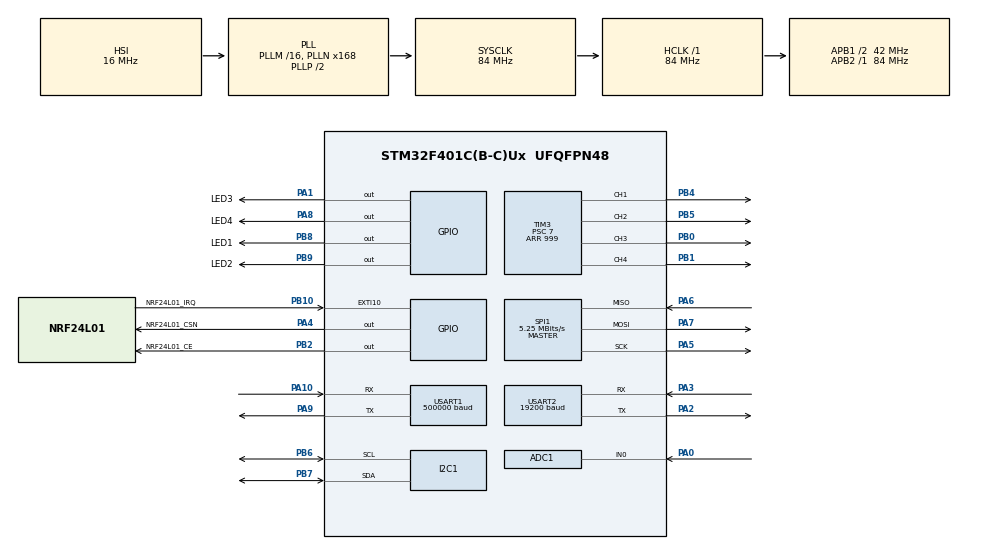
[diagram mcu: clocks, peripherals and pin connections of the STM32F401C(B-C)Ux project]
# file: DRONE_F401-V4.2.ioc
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ADC1.Channel-0\#ChannelRegularConversion=ADC_CHANNEL_0
ADC1.ContinuousConvMode=DISABLE
ADC1.NbrOfConversionFlag=1
ADC1.Rank-0\#ChannelRegularConversion=1
ADC1.SamplingTime-0\#ChannelRegularConversion=ADC_SAMPLETIME_15CYCLES
ADC1.ScanConvMode=DISABLE
ADC1.master=1
Dma.Request0=USART2_RX
Dma.USART2_RX.0.Direction=DMA_PERIPH_TO_MEMORY
Dma.USART2_RX.0.FIFOMode=DMA_FIFOMODE_DISABLE
Dma.USART2_RX.0.Instance=DMA1_Stream5
Dma.USART2_RX.0.MemDataAlignment=DMA_MDATAALIGN_BYTE
Dma.USART2_RX.0.MemInc=DMA_MINC_ENABLE
Dma.USART2_RX.0.Mode=DMA_NORMAL
Dma.USART2_RX.0.PeriphDataAlignment=DMA_PDATAALIGN_BYTE
Dma.USART2_RX.0.PeriphInc=DMA_PINC_DISABLE
Dma.USART2_RX.0.Priority=DMA_PRIORITY_LOW
I2C1.I2C_Mode=I2C_Fast
Mcu.Family=STM32F4
Mcu.Name=STM32F401C(B-C)Ux
Mcu.Package=UFQFPN48
NVIC.ADC_IRQn=true\:0\:0\:false\:false\:true\:true\:true\:true
NVIC.DMA1_Stream5_IRQn=true\:0\:0\:false\:false\:true\:false\:true\:true
NVIC.EXTI15_10_IRQn=true\:0\:0\:false\:false\:true\:true\:true\:true
NVIC.PriorityGroup=NVIC_PRIORITYGROUP_4
NVIC.TIM1_UP_TIM10_IRQn=true\:0\:0\:false\:false\:true\:true\:true\:true
NVIC.USART1_IRQn=true\:0\:0\:false\:false\:true\:true\:true\:true
NVIC.USART2_IRQn=true\:0\:0\:false\:false\:true\:true\:true\:true
PA0-WKUP.Signal=ADCx_IN0
PA1.GPIO_Label=LED3
PA1.Signal=GPIO_Output
PA10.Mode=Asynchronous
PA10.Signal=USART1_RX
PA13.Mode=Serial_Wire
PA13.Signal=SYS_JTMS-SWDIO
PA14.Mode=Serial_Wire
PA14.Signal=SYS_JTCK-SWCLK
PA2.Mode=Asynchronous
PA2.Signal=USART2_TX
PA3.Mode=Asynchronous
PA3.Signal=USART2_RX
PA4.GPIO_Label=NRF24L01_CSN
PA4.GPIO_Speed=GPIO_SPEED_FREQ_HIGH
PA4.PinState=GPIO_PIN_SET
PA4.Signal=GPIO_Output
PA5.Mode=Full_Duplex_Master
PA5.Signal=SPI1_SCK
PA6.Mode=Full_Duplex_Master
PA6.Signal=SPI1_MISO
PA7.Mode=Full_Duplex_Master
PA7.Signal=SPI1_MOSI
PA8.GPIO_Label=LED4
PA8.Signal=GPIO_Output
PA9.Mode=Asynchronous
PA9.Signal=USART1_TX
PB0.Signal=S_TIM3_CH3
PB1.Signal=S_TIM3_CH4
PB10.GPIO_Label=NRF24L01_IRQ
PB10.GPIO_ModeDefaultEXTI=GPIO_MODE_IT_FALLING
PB10.GPIO_PuPd=GPIO_PULLUP
PB10.Signal=GPXTI10
PB2.GPIO_Label=NRF24L01_CE
PB2.PinState=GPIO_PIN_SET
PB2.Signal=GPIO_Output
PB4.Signal=S_TIM3_CH1
PB5.Signal=S_TIM3_CH2
PB6.GPIO_Pu=GPIO_PULLUP
PB6.Mode=I2C
PB6.Signal=I2C1_SCL
PB7.GPIO_Pu=GPIO_PULLUP
PB7.Mode=I2C
PB7.Signal=I2C1_SDA
PB8.GPIO_Label=LED1
PB8.Signal=GPIO_Output
PB9.GPIO_Label=LED2
PB9.Signal=GPIO_Output
PH0\ -\ OSC_IN.Mode=HSE-External-Oscillator
PH0\ -\ OSC_IN.Signal=RCC_OSC_IN
PH1\ -\ OSC_OUT.Mode=HSE-External-Oscillator
PH1\ -\ OSC_OUT.Signal=RCC_OSC_OUT
ProjectManager.HeapSize=0x200
ProjectManager.StackSize=0x400
ProjectManager.TargetToolchain=MDK-ARM V5.32
RCC.48MHZClocksFreq_Value=42000000
RCC.AHBFreq_Value=84000000
RCC.APB1CLKDivider=RCC_HCLK_DIV2
RCC.APB1Freq_Value=42000000
RCC.APB1TimFreq_Value=84000000
RCC.APB2Freq_Value=84000000
RCC.APB2TimFreq_Value=84000000
RCC.CortexFreq_Value=84000000
RCC.HCLKFreq_Value=84000000
RCC.HSE_VALUE=25000000
RCC.HSI_VALUE=16000000
RCC.LSE_VALUE=32768
RCC.PLLN=168
RCC.SYSCLKFreq_VALUE=84000000
RCC.SYSCLKSource=RCC_SYSCLKSOURCE_PLLCLK
RCC.VCOOutputFreq_Value=168000000
SH.ADCx_IN0.0=ADC1_IN0,IN0
SH.S_TIM3_CH1.0=TIM3_CH1,PWM Generation1 CH1
SH.S_TIM3_CH2.0=TIM3_CH2,PWM Generation2 CH2
SH.S_TIM3_CH3.0=TIM3_CH3,PWM Generation3 CH3
SH.S_TIM3_CH4.0=TIM3_CH4,PWM Generation4 CH4
SPI1.BaudRatePrescaler=SPI_BAUDRATEPRESCALER_16
SPI1.CalculateBaudRate=5.25 MBits/s
SPI1.Direction=SPI_DIRECTION_2LINES
SPI1.Mode=SPI_MODE_MASTER
SPI1.VirtualType=VM_MASTER
TIM1.AutoReloadPreload=TIM_AUTORELOAD_PRELOAD_ENABLE
TIM1.Period=60
TIM1.Prescaler=8399
TIM3.AutoReloadPreload=TIM_AUTORELOAD_PRELOAD_ENABLE
TIM3.Channel-PWM\ Generation1\ CH1=TIM_CHANNEL_1
TIM3.Channel-PWM\ Generation2\ CH2=TIM_CHANNEL_2
TIM3.Channel-PWM\ Generation3\ CH3=TIM_CHANNEL_3
TIM3.Channel-PWM\ Generation4\ CH4=TIM_CHANNEL_4
TIM3.Period=999
TIM3.Prescaler=7
TIM3.Pulse-PWM\ Generation1\ CH1=0
USART1.BaudRate=500000
USART1.VirtualMode=VM_ASYNC
USART2.BaudRate=19200
USART2.VirtualMode=VM_ASYNC
VP_TIM1_VS_ClockSourceINT.Mode=Internal
VP_TIM3_VS_ClockSourceINT.Mode=Internal
board=custom

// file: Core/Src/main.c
/* USER CODE BEGIN Header */
/**
  ******************************************************************************
  * @file           : main.c
  * @brief          : Main program body
  ******************************************************************************
  * @attention
  *
  * <h2><center>&copy; Copyright (c) 2021 STMicroelectronics.
  * All rights reserved.</center></h2>
  *
  * This software component is licensed by ST under BSD 3-Clause license,
  * the "License"; You may not use this file except in compliance with the
  * License. You may obtain a copy of the License at:
  *                        opensource.org/licenses/BSD-3-Clause
  *
  ******************************************************************************
  */
/* USER CODE END Header */
#include "main.h"
#include "mpu6050.h"
#include "flash.h"
/* USER CODE BEGIN Includes */
#include "all_define.h"
#include "stm32f4xx_hal.h"

#include "stm32f4xx_hal_tim.h"
/* USER CODE END Includes */

ADC_HandleTypeDef hadc1;

I2C_HandleTypeDef hi2c1;

SPI_HandleTypeDef hspi1;

TIM_HandleTypeDef htim1;
//TIM_HandleTypeDef htim2;
TIM_HandleTypeDef htim3;

UART_HandleTypeDef huart1;
UART_HandleTypeDef huart2;
DMA_HandleTypeDef hdma_usart2_rx;

/* USER CODE BEGIN PV */
uint8_t nrf2401_tx_flag=1;
uint8_t nrf2401_txbuf[33]={0xAA,0xAA,0x01,0x06,0x00,0x1D,0xFF,0xCA,0x09,0x1E,0x68};
uint8_t txbuf_pos=0;
extern uint16_t nrf_cnt;

uint8_t uart1_rxbuf[100];
uint8_t uart1_buf_pos=0;
uint8_t uart1_flag=0;
uint32_t uart1_tick_start=0;

__IO uint8_t uart2_rxbuf[100];
uint8_t uart2_buf_pos=0;
uint8_t uart2_flag=0;
uint32_t uart2_tick_start=0;
float temperature;
float presure;
uint32_t baro_height; // barometer height in mm
uint16_t voltage;    // battery voltage * 100
/* UART command buffer */
char uart_rx_buf[128];
uint8_t uart_rx_len = 0;
// FC soft-sleep timing state
uint32_t idle_tick = 0;          // last non-idle tick for FC soft sleep
uint8_t fc_sleep_counting = 0U;  // only count down after remote reports locked-idle
uint8_t fc_soft_sleeping = 0U;
#define SLEEP_TIME 60000         // legacy 60s timeout value

// IMU calibration Flash flag
#define CALIB_ADDR  0x0801F000
#define CALIB_OK    0xAA

/* USER CODE END PV */

void SystemClock_Config(void);
static void MX_GPIO_Init(void);
static void MX_DMA_Init(void);
static void MX_I2C1_Init(void);
static void MX_SPI1_Init(void);
static void MX_TIM3_Init(void);
static void MX_TIM1_Init(void);
static void MX_USART2_UART_Init(void);
static void MX_ADC1_Init(void);
static void MX_USART1_UART_Init(void);
/* USER CODE BEGIN PFP */
extern void pid_param_Init(void);
/* USER CODE END PFP */

/* USER CODE BEGIN 0 */
// Enter FC soft sleep without shutting down MCU or NRF.
void Enter_Standby(void)
{
  /* FC soft sleep stops motors and LED indication only.
     MCU and NRF stay alive so the remote link and telemetry continue. */
  __HAL_TIM_SET_COMPARE(&htim3, TIM_CHANNEL_1, 0);
  __HAL_TIM_SET_COMPARE(&htim3, TIM_CHANNEL_2, 0);
  __HAL_TIM_SET_COMPARE(&htim3, TIM_CHANNEL_3, 0);
  __HAL_TIM_SET_COMPARE(&htim3, TIM_CHANNEL_4, 0);
  ALL_flag.unlock = 0;
  LED.status = AlwaysOff;
  HAL_GPIO_WritePin(LED1_GPIO_Port, LED1_Pin, GPIO_PIN_SET);
  HAL_GPIO_WritePin(LED2_GPIO_Port, LED2_Pin, GPIO_PIN_SET);
  HAL_GPIO_WritePin(LED3_GPIO_Port, LED3_Pin, GPIO_PIN_SET);
  HAL_GPIO_WritePin(LED4_GPIO_Port, LED4_Pin, GPIO_PIN_SET);
  fc_soft_sleeping = 1U;
}
// Reset FC soft-sleep timer and wake from soft sleep.
void Reset_Idle(void)
{
  idle_tick = HAL_GetTick();
  fc_soft_sleeping = 0U;
}

static void FC_SendTelemetryWindow(void)
{
  static uint32_t last_telemetry_tx_tick = 0U;
  static uint32_t last_control_rx_tick = 0U;
  uint32_t now = HAL_GetTick();
  uint8_t len = txbuf_pos;
  uint32_t min_interval;

  /* Update last control frame receive time */
  extern uint32_t last_nrf_rx_time;
  if(last_nrf_rx_time != last_control_rx_tick)
  {
    last_control_rx_tick = last_nrf_rx_time;
  }

  if(len == 0U)
  {
    return;
  }
  if(len > 32U)
  {
    len = 32U;
  }

  /* Adaptive telemetry rate:
     - Locked: 1Hz (1000ms) - keep remote signal indicator alive
     - Unlocked: 20Hz (50ms) - full telemetry for ground station
     Only send when recently received control frames to avoid wasting airtime. */
  if(ALL_flag.unlock == 0U)
  {
    min_interval = 1000U;  /* Locked: 1Hz keepalive */
  }
  else
  {
    min_interval = 50U;    /* Unlocked: 20Hz full telemetry */
  }

  if((now - last_control_rx_tick) > 100U)
  {
    return;  /* No recent control frame: remote may not be listening */
  }

  if((now - last_telemetry_tx_tick) < min_interval)
  {
    return;  /* Rate limit */
  }

  /* Send telemetry in brief TX window between control frames */
  RX2TX();
  (void)NRF24L01_TxPacket(nrf2401_txbuf, len);
  TX2RX();
  txbuf_pos = 0U;
  last_telemetry_tx_tick = now;
}

extern uint8_t RC_rxData[32];
//uint8_t cnt_angle=0;
uint8_t SPL06_cnt=0,SPL06_flag=0;
uint8_t volt_cnt=0;
uint32_t last_nrf_rx_time = 0U;  /* Timestamp of last control frame received */
void HAL_TIM_PeriodElapsedCallback(TIM_HandleTypeDef *htim)
{
  if(htim==&htim1)
  {
   #if 1
    __HAL_TIM_CLEAR_IT(&htim1, TIM_IT_UPDATE|TIM_IT_CC1|TIM_IT_CC2|TIM_IT_CC3|TIM_IT_CC4);

    MpuGetData();
    GetAngle(&MPU6050,&Angle,0.006f);
    OPTICAL2Read();

    FlightPidControl(0.006f);
    MotorControl();
   #endif
    nrf_cnt++;
    // Legacy note removed because its original encoding was corrupted.
    // Legacy note removed because its original encoding was corrupted.
    // Legacy note removed because its original encoding was corrupted.
    // Allow short RF jitter; do not mark the link lost on one or two missed frames.
    if(nrf_cnt>=200)
    {
      ALL_flag.unlock = 0;
      nrf_cnt=0;
      //LED3_Toggle();
      //remote_unlock();
      LED.status = AllFlashLight;
      LED.FlashTime = 300;
    }
    SPL06_cnt++;
    if(SPL06_cnt>10)
    {
      SPL06_cnt=0;
      temperature = user_SPL06_001_get_temperature();
      presure = user_SPL06_001_get_presure();
      baro_height = ((uint32_t)((102000.0f- presure) * 78.740f)+5)/10;
      SPL06_flag=1;
    }
    volt_cnt++;
    if(volt_cnt>=200)
    { HAL_ADC_Start_IT(&hadc1);
      volt_cnt =0;
    }
  }
}

void HAL_GPIO_EXTI_Callback(uint16_t GPIO_Pin)
{
	uint8_t sta;
  if(GPIO_Pin==NRF24L01_IRQ_Pin)
  {
    // RC_Analy() clears nrf_cnt only after a real payload is read.
    sta=NRF24L01_Read_Reg(STATUS);
    if(sta&RX_OK)
    {
      // Legacy note removed because its original encoding was corrupted.
      last_nrf_rx_time = HAL_GetTick();  /* Record control frame receive time */
      RC_Analy();
      nrf2401_tx_flag=1;
    }
  }
}

void HAL_ADC_ConvCpltCallback(ADC_HandleTypeDef* hadc)
{ uint16_t adv;
  adv=HAL_ADC_GetValue(&hadc1);
  voltage=adv*430/4096;
  if (voltage<360)
  {
    ALL_flag.unlock = 0;
    LED.status =WARNING;
    LED.FlashTime = 500;
  }
}

/* USER CODE END 0 */

int main(void)
{

  /* MCU Configuration--------------------------------------------------------*/

  /* Reset of all peripherals, Initializes the Flash interface and the Systick. */
  HAL_Init();

  /* Configure the system clock */
  SystemClock_Config();

  /* Initialize all configured peripherals */
  MX_GPIO_Init();
  MX_DMA_Init();
  MX_I2C1_Init();
  MX_SPI1_Init();
  MX_TIM3_Init();
  MX_TIM1_Init();
  MX_USART2_UART_Init();
  MX_ADC1_Init();
  MX_USART1_UART_Init();
//	MX_TIM2_Init();
  /* USER CODE BEGIN 2 */
  HAL_NVIC_DisableIRQ(NRF24L01_IRQ_EXTI_IRQn); // Keep NRF IRQ disabled until NRF24L01 init is finished.
  HAL_GPIO_WritePin(NRF24L01_CE_GPIO_Port, NRF24L01_CE_Pin, GPIO_PIN_RESET); // Disable NRF CE during setup.
	// ===================== IMU calibration =====================
uint8_t calib = FLASH_ReadByte(CALIB_ADDR);
if(calib != CALIB_OK)
{
    // No saved calibration: blink LEDs before first calibration.
    HAL_GPIO_TogglePin(GPIOB, LED1_Pin);
    HAL_GPIO_TogglePin(GPIOB, LED2_Pin);
    HAL_Delay(300);

    // Run sensor calibration before writing the calibration flag.
    MPU6050_Calibrate();

    // Mark calibration as valid in Flash.
    FLASH_WriteByte(CALIB_ADDR, CALIB_OK);
}
// Turn LEDs off after calibration.
HAL_GPIO_WritePin(GPIOB, LED1_Pin|LED2_Pin|LED3_Pin|LED4_Pin, GPIO_PIN_SET);
HAL_Delay(1000);
  LED1_H();

  HAL_Delay(100);
  SPL06_001_init(); // Initialize SPL06 barometer.
  MpuInit(); // Initialize MPU6050.

// ==============================================
// Boot calibration is skipped when the Flash flag is already valid.
// Factory test helper: erase Flash to force recalibration.
// End of calibration block.
HAL_GPIO_WritePin(GPIOB, LED1_Pin, GPIO_PIN_SET);
HAL_GPIO_WritePin(GPIOB, LED2_Pin, GPIO_PIN_SET);
HAL_GPIO_WritePin(GPIOA, LED3_Pin, GPIO_PIN_SET);
HAL_GPIO_WritePin(GPIOA, LED4_Pin, GPIO_PIN_SET);
HAL_Delay(300);

// ====================== LED test block ======================
HAL_GPIO_WritePin(GPIOB, LED1_Pin, GPIO_PIN_RESET);
HAL_GPIO_WritePin(GPIOB, LED2_Pin, GPIO_PIN_RESET);
HAL_Delay(3000);   // wait 3 seconds for visual check

HAL_GPIO_WritePin(GPIOB, LED1_Pin, GPIO_PIN_SET);
HAL_GPIO_WritePin(GPIOB, LED2_Pin, GPIO_PIN_SET);
HAL_Delay(1000);

// ====================== LED test block ======================
//while(1)
//{
    // LED1 on, LED2 off
//    HAL_GPIO_WritePin(GPIOB, LED1_Pin, GPIO_PIN_RESET);
//    HAL_GPIO_WritePin(GPIOB, LED2_Pin, GPIO_PIN_SET);
//    HAL_Delay(1000);

    // LED1 off, LED2 on
//    HAL_GPIO_WritePin(GPIOB, LED1_Pin, GPIO_PIN_SET);
//    HAL_GPIO_WritePin(GPIOB, LED2_Pin, GPIO_PIN_RESET);
//    HAL_Delay(1000);
//}
#if 1

  HAL_TIM_PWM_Start(&htim3,TIM_CHANNEL_1);
  HAL_TIM_PWM_Start(&htim3,TIM_CHANNEL_2);
  HAL_TIM_PWM_Start(&htim3,TIM_CHANNEL_3);
  HAL_TIM_PWM_Start(&htim3,TIM_CHANNEL_4);
  __HAL_TIM_CLEAR_IT(&htim1, (TIM_IT_UPDATE|TIM_IT_CC1|TIM_IT_CC2|TIM_IT_CC3|TIM_IT_CC4));
  //HAL_Delay(100);
  HAL_TIM_Base_Start_IT(&htim1);
  HAL_UART_Receive_DMA(&huart2,(uint8_t *)uart2_rxbuf,9);
  __HAL_UART_ENABLE_IT(&huart2,UART_IT_IDLE);  // Enable USART2 idle interrupt for fixed-length GL9306 packets.
  __HAL_UART_ENABLE_IT(&huart1, UART_IT_RXNE); // Enable USART1 RX interrupt for command input.

  while(NRF24L01_Check())
  {
    LED1_Toggle();
    HAL_Delay(250);
  }
  pid_param_Init();
  LED1_Toggle();
  if((FLASH_ReadByte(PAIR_BUILD_ADDR) != (uint8_t)(PAIR_BUILD_ID & 0xFFU)) ||
     (FLASH_ReadByte(PAIR_BUILD_ADDR + 1U) != (uint8_t)((PAIR_BUILD_ID >> 8) & 0xFFU)))
  {
    FLASH_EraseSectorByAddr(PAIR_ADDR);
    FLASH_WriteByte(PAIR_ADDR, 0);
    FLASH_WriteByte(PAIR_ADDR + 1U, 0x11);
    FLASH_WriteByte(PAIR_ADDR + 2U, 0x22);
    FLASH_WriteByte(PAIR_ADDR + 3U, 0x33);
    FLASH_WriteByte(PAIR_ADDR + 4U, 0x44);
    FLASH_WriteByte(PAIR_ADDR + 5U, 0x55);
    FLASH_WriteByte(PAIR_FLAG, PAIR_MAGIC);
    FLASH_WriteByte(PAIR_BUILD_ADDR, (uint8_t)(PAIR_BUILD_ID & 0xFFU));
    FLASH_WriteByte(PAIR_BUILD_ADDR + 1U, (uint8_t)((PAIR_BUILD_ID >> 8) & 0xFFU));
    FLASH_WriteByte(FC_SLEEP_ADDR, (uint8_t)(g_fc_idle_sleep_seconds & 0xFFU));
    FLASH_WriteByte(FC_SLEEP_ADDR + 1U, (uint8_t)((g_fc_idle_sleep_seconds >> 8) & 0xFFU));
    FLASH_WriteByte(FC_SLEEP_MAGIC_ADDR, FC_SLEEP_MAGIC);
  }
  if(FLASH_ReadByte(PAIR_FLAG) == PAIR_MAGIC)
  {
    uint8_t saved_rf_addr[5];
    uint8_t saved_rf_channel = FLASH_ReadByte(PAIR_ADDR);
    saved_rf_addr[0] = FLASH_ReadByte(PAIR_ADDR + 1U);
    saved_rf_addr[1] = FLASH_ReadByte(PAIR_ADDR + 2U);
    saved_rf_addr[2] = FLASH_ReadByte(PAIR_ADDR + 3U);
    saved_rf_addr[3] = FLASH_ReadByte(PAIR_ADDR + 4U);
    saved_rf_addr[4] = FLASH_ReadByte(PAIR_ADDR + 5U);
    if(saved_rf_channel <= 125U)
    {
      NRF24L01_SetChannelAddress(saved_rf_channel, saved_rf_addr);
    }
  }
  RX_Mode();
  HAL_ADC_Start_IT(&hadc1); // Start battery-voltage ADC conversion.

  HAL_NVIC_EnableIRQ(NRF24L01_IRQ_EXTI_IRQn); // Enable NRF IRQ after NRF24L01 init is complete.
  FC_LoadSleepConfig();

  Reset_Idle();  // start FC soft-sleep timer after RF init
#endif
  /* USER CODE END 2 */

  /* Infinite loop */
  /* USER CODE BEGIN WHILE */

  while (1)
  {
    // Enter FC soft sleep after the configured locked-idle timeout.
    if((g_fc_idle_sleep_seconds != 0U) &&
       (fc_sleep_counting != 0U) &&
       (fc_soft_sleeping == 0U) &&
       ((HAL_GetTick() - idle_tick) >= ((uint32_t)g_fc_idle_sleep_seconds * 1000U)))
    {
        ALL_flag.unlock = 0;
        // MotorStop(); // PWM outputs are cleared inside Enter_Standby().
        Enter_Standby();
    }

    ANO_ServicePairSave();
    ANTO_polling();
    PilotLED();
    ANTO_polling();
    FC_SendTelemetryWindow();
    PilotLED();
    //OPTICAL2Read();
    if(uart1_flag)
    { uart1_flag=0;
      //send_char_array(&huart1,uart1_rxbuf,uart1_buf_pos);
      uart1_buf_pos=0;
    }
    if(uart2_flag)
    { uart2_flag=0;
      flow_decode();
      //send_char_array(&huart1,(uint8_t *)uart2_rxbuf,9);//uart2_buf_pos);
      uart2_buf_pos=0;
    }

    if(SPL06_flag)
    { SPL06_flag=0;
      // Legacy note removed because its original encoding was corrupted.
    }

    /* USER CODE END WHILE */

  }
}

void SystemClock_Config(void)
{
  RCC_OscInitTypeDef RCC_OscInitStruct = {0};
  RCC_ClkInitTypeDef RCC_ClkInitStruct = {0};

  /** Configure the main internal regulator output voltage
  */
  __HAL_RCC_PWR_CLK_ENABLE();
  __HAL_PWR_VOLTAGESCALING_CONFIG(PWR_REGULATOR_VOLTAGE_SCALE2);

  /** Initializes the RCC Oscillators according to the specified parameters
  * in the RCC_OscInitTypeDef structure.
  */
  RCC_OscInitStruct.OscillatorType = RCC_OSCILLATORTYPE_HSI;
  RCC_OscInitStruct.HSIState = RCC_HSI_ON;
  RCC_OscInitStruct.HSICalibrationValue = RCC_HSICALIBRATION_DEFAULT;
  RCC_OscInitStruct.PLL.PLLState = RCC_PLL_ON;
  RCC_OscInitStruct.PLL.PLLSource = RCC_PLLSOURCE_HSI;
  RCC_OscInitStruct.PLL.PLLM = 16;
  RCC_OscInitStruct.PLL.PLLN = 168;
  RCC_OscInitStruct.PLL.PLLP = RCC_PLLP_DIV2;
  RCC_OscInitStruct.PLL.PLLQ = 4;
  if (HAL_RCC_OscConfig(&RCC_OscInitStruct) != HAL_OK)
  {
    Error_Handler();
  }

  /** Initializes the CPU, AHB and APB buses clocks
  */
  RCC_ClkInitStruct.ClockType = RCC_CLOCKTYPE_HCLK|RCC_CLOCKTYPE_SYSCLK
                              |RCC_CLOCKTYPE_PCLK1|RCC_CLOCKTYPE_PCLK2;
  RCC_ClkInitStruct.SYSCLKSource = RCC_SYSCLKSOURCE_PLLCLK;
  RCC_ClkInitStruct.AHBCLKDivider = RCC_SYSCLK_DIV1;
  RCC_ClkInitStruct.APB1CLKDivider = RCC_HCLK_DIV2;
  RCC_ClkInitStruct.APB2CLKDivider = RCC_HCLK_DIV1;

  if (HAL_RCC_ClockConfig(&RCC_ClkInitStruct, FLASH_LATENCY_2) != HAL_OK)
  {
    Error_Handler();
  }
}

static void MX_ADC1_Init(void)
{

  ADC_ChannelConfTypeDef sConfig = {0};

  /** Configure the global features of the ADC (Clock, Resolution, Data Alignment and number of conversion)
  */
  hadc1.Instance = ADC1;
  hadc1.Init.ClockPrescaler = ADC_CLOCK_SYNC_PCLK_DIV4;
  hadc1.Init.Resolution = ADC_RESOLUTION_12B;
  hadc1.Init.ScanConvMode = DISABLE;
  hadc1.Init.ContinuousConvMode = DISABLE;
  hadc1.Init.DiscontinuousConvMode = DISABLE;
  hadc1.Init.ExternalTrigConvEdge = ADC_EXTERNALTRIGCONVEDGE_NONE;
  hadc1.Init.ExternalTrigConv = ADC_SOFTWARE_START;
  hadc1.Init.DataAlign = ADC_DATAALIGN_RIGHT;
  hadc1.Init.NbrOfConversion = 1;
  hadc1.Init.DMAContinuousRequests = DISABLE;
  hadc1.Init.EOCSelection = ADC_EOC_SINGLE_CONV;
  if (HAL_ADC_Init(&hadc1) != HAL_OK)
  {
    Error_Handler();
  }

  /** Configure for the selected ADC regular channel its corresponding rank in the sequencer and its sample time.
  */
  sConfig.Channel = ADC_CHANNEL_0;
  sConfig.Rank = 1;
  sConfig.SamplingTime = ADC_SAMPLETIME_15CYCLES;
  if (HAL_ADC_ConfigChannel(&hadc1, &sConfig) != HAL_OK)
  {
    Error_Handler();
  }

}

static void MX_I2C1_Init(void)
{

  hi2c1.Instance = I2C1;
  hi2c1.Init.ClockSpeed = 400000;
  hi2c1.Init.DutyCycle = I2C_DUTYCYCLE_2;
  hi2c1.Init.OwnAddress1 = 0;
  hi2c1.Init.AddressingMode = I2C_ADDRESSINGMODE_7BIT;
  hi2c1.Init.DualAddressMode = I2C_DUALADDRESS_DISABLE;
  hi2c1.Init.OwnAddress2 = 0;
  hi2c1.Init.GeneralCallMode = I2C_GENERALCALL_DISABLE;
  hi2c1.Init.NoStretchMode = I2C_NOSTRETCH_DISABLE;
  if (HAL_I2C_Init(&hi2c1) != HAL_OK)
  {
    Error_Handler();
  }

}

static void MX_SPI1_Init(void)
{

  /* SPI1 parameter configuration*/
  hspi1.Instance = SPI1;
  hspi1.Init.Mode = SPI_MODE_MASTER;
  hspi1.Init.Direction = SPI_DIRECTION_2LINES;
  hspi1.Init.DataSize = SPI_DATASIZE_8BIT;
  hspi1.Init.CLKPolarity = SPI_POLARITY_LOW;
  hspi1.Init.CLKPhase = SPI_PHASE_1EDGE;
  hspi1.Init.NSS = SPI_NSS_SOFT;
  hspi1.Init.BaudRatePrescaler = SPI_BAUDRATEPRESCALER_16;
  hspi1.Init.FirstBit = SPI_FIRSTBIT_MSB;
  hspi1.Init.TIMode = SPI_TIMODE_DISABLE;
  hspi1.Init.CRCCalculation = SPI_CRCCALCULATION_DISABLE;
  hspi1.Init.CRCPolynomial = 10;
  if (HAL_SPI_Init(&hspi1) != HAL_OK)
  {
    Error_Handler();
  }

}

static void MX_TIM1_Init(void)
{

  TIM_ClockConfigTypeDef sClockSourceConfig = {0};
  TIM_MasterConfigTypeDef sMasterConfig = {0};

  htim1.Instance = TIM1;
  htim1.Init.Prescaler = 8399;
  htim1.Init.CounterMode = TIM_COUNTERMODE_UP;
  htim1.Init.Period = 60;
  htim1.Init.ClockDivision = TIM_CLOCKDIVISION_DIV1;
  htim1.Init.RepetitionCounter = 0;
  htim1.Init.AutoReloadPreload = TIM_AUTORELOAD_PRELOAD_ENABLE;
  if (HAL_TIM_Base_Init(&htim1) != HAL_OK)
  {
    Error_Handler();
  }
  sClockSourceConfig.ClockSource = TIM_CLOCKSOURCE_INTERNAL;
  if (HAL_TIM_ConfigClockSource(&htim1, &sClockSourceConfig) != HAL_OK)
  {
    Error_Handler();
  }
  sMasterConfig.MasterOutputTrigger = TIM_TRGO_RESET;
  sMasterConfig.MasterSlaveMode = TIM_MASTERSLAVEMODE_DISABLE;
  if (HAL_TIMEx_MasterConfigSynchronization(&htim1, &sMasterConfig) != HAL_OK)
  {
    Error_Handler();
  }
  /* USER CODE BEGIN TIM1_Init 2 */
  __HAL_TIM_SET_COMPARE(&htim1,TIM_CHANNEL_1,65535);
  __HAL_TIM_SET_COMPARE(&htim1,TIM_CHANNEL_2,65535);
  __HAL_TIM_SET_COMPARE(&htim1,TIM_CHANNEL_3,65535);
  __HAL_TIM_SET_COMPARE(&htim1,TIM_CHANNEL_4,65535);
  /* USER CODE END TIM1_Init 2 */

}

static void MX_TIM3_Init(void)
{

  TIM_ClockConfigTypeDef sClockSourceConfig = {0};
  TIM_MasterConfigTypeDef sMasterConfig = {0};
  TIM_OC_InitTypeDef sConfigOC = {0};

  htim3.Instance = TIM3;
  htim3.Init.Prescaler = 7;
  htim3.Init.CounterMode = TIM_COUNTERMODE_UP;
  htim3.Init.Period = 999;
  htim3.Init.ClockDivision = TIM_CLOCKDIVISION_DIV1;
  htim3.Init.AutoReloadPreload = TIM_AUTORELOAD_PRELOAD_ENABLE;
  if (HAL_TIM_Base_Init(&htim3) != HAL_OK)
  {
    Error_Handler();
  }
  sClockSourceConfig.ClockSource = TIM_CLOCKSOURCE_INTERNAL;
  if (HAL_TIM_ConfigClockSource(&htim3, &sClockSourceConfig) != HAL_OK)
  {
    Error_Handler();
  }
  if (HAL_TIM_PWM_Init(&htim3) != HAL_OK)
  {
    Error_Handler();
  }
  sMasterConfig.MasterOutputTrigger = TIM_TRGO_RESET;
  sMasterConfig.MasterSlaveMode = TIM_MASTERSLAVEMODE_DISABLE;
  if (HAL_TIMEx_MasterConfigSynchronization(&htim3, &sMasterConfig) != HAL_OK)
  {
    Error_Handler();
  }
  sConfigOC.OCMode = TIM_OCMODE_PWM1;
  sConfigOC.Pulse = 100;
  sConfigOC.OCPolarity = TIM_OCPOLARITY_HIGH;
  sConfigOC.OCFastMode = TIM_OCFAST_DISABLE;
  if (HAL_TIM_PWM_ConfigChannel(&htim3, &sConfigOC, TIM_CHANNEL_1) != HAL_OK)
  {
    Error_Handler();
  }
  if (HAL_TIM_PWM_ConfigChannel(&htim3, &sConfigOC, TIM_CHANNEL_2) != HAL_OK)
  {
    Error_Handler();
  }
  if (HAL_TIM_PWM_ConfigChannel(&htim3, &sConfigOC, TIM_CHANNEL_3) != HAL_OK)
  {
    Error_Handler();
  }
  if (HAL_TIM_PWM_ConfigChannel(&htim3, &sConfigOC, TIM_CHANNEL_4) != HAL_OK)
  {
    Error_Handler();
  }
  HAL_TIM_MspPostInit(&htim3);

}

static void MX_USART1_UART_Init(void)
{

  huart1.Instance = USART1;
  huart1.Init.BaudRate = 500000;
  huart1.Init.WordLength = UART_WORDLENGTH_8B;
  huart1.Init.StopBits = UART_STOPBITS_1;
  huart1.Init.Parity = UART_PARITY_NONE;
  huart1.Init.Mode = UART_MODE_TX_RX;
  huart1.Init.HwFlowCtl = UART_HWCONTROL_NONE;
  huart1.Init.OverSampling = UART_OVERSAMPLING_16;
  if (HAL_UART_Init(&huart1) != HAL_OK)
  {
    Error_Handler();
  }

}

static void MX_USART2_UART_Init(void)
{

  huart2.Instance = USART2;
  huart2.Init.BaudRate = 19200;
  huart2.Init.WordLength = UART_WORDLENGTH_8B;
  huart2.Init.StopBits = UART_STOPBITS_1;
  huart2.Init.Parity = UART_PARITY_NONE;
  huart2.Init.Mode = UART_MODE_TX_RX;
  huart2.Init.HwFlowCtl = UART_HWCONTROL_NONE;
  huart2.Init.OverSampling = UART_OVERSAMPLING_16;
  if (HAL_UART_Init(&huart2) != HAL_OK)
  {
    Error_Handler();
  }

}

static void MX_DMA_Init(void)
{

  /* DMA controller clock enable */
  __HAL_RCC_DMA1_CLK_ENABLE();

  /* DMA interrupt init */
  /* DMA1_Stream5_IRQn interrupt configuration */
  HAL_NVIC_SetPriority(DMA1_Stream5_IRQn, 0, 0);
  HAL_NVIC_EnableIRQ(DMA1_Stream5_IRQn);

}

static void MX_GPIO_Init(void)
{
  GPIO_InitTypeDef GPIO_InitStruct = {0};

  /* GPIO Ports Clock Enable */
  __HAL_RCC_GPIOC_CLK_ENABLE();
  __HAL_RCC_GPIOH_CLK_ENABLE();
  __HAL_RCC_GPIOA_CLK_ENABLE();
  __HAL_RCC_GPIOB_CLK_ENABLE();

  /*Configure GPIO pin Output Level */
  HAL_GPIO_WritePin(GPIOA, LED3_Pin|LED4_Pin, GPIO_PIN_RESET);

  /*Configure GPIO pin Output Level */
  HAL_GPIO_WritePin(NRF24L01_CSN_GPIO_Port, NRF24L01_CSN_Pin, GPIO_PIN_SET);

  /*Configure GPIO pin Output Level */
  HAL_GPIO_WritePin(NRF24L01_CE_GPIO_Port, NRF24L01_CE_Pin, GPIO_PIN_SET);

  /*Configure GPIO pin Output Level */
  HAL_GPIO_WritePin(GPIOB, LED1_Pin|LED2_Pin, GPIO_PIN_RESET);

  /*Configure GPIO pins : PC13 PC14 PC15 */
  GPIO_InitStruct.Pin = GPIO_PIN_13|GPIO_PIN_14|GPIO_PIN_15;
  GPIO_InitStruct.Mode = GPIO_MODE_ANALOG;
  GPIO_InitStruct.Pull = GPIO_NOPULL;
  HAL_GPIO_Init(GPIOC, &GPIO_InitStruct);

  /*Configure GPIO pins : LED3_Pin LED4_Pin */
  GPIO_InitStruct.Pin = LED3_Pin|LED4_Pin;
  GPIO_InitStruct.Mode = GPIO_MODE_OUTPUT_PP;
  GPIO_InitStruct.Pull = GPIO_NOPULL;
  GPIO_InitStruct.Speed = GPIO_SPEED_FREQ_LOW;
  HAL_GPIO_Init(GPIOA, &GPIO_InitStruct);

  /*Configure GPIO pin : NRF24L01_CSN_Pin */
  GPIO_InitStruct.Pin = NRF24L01_CSN_Pin;
  GPIO_InitStruct.Mode = GPIO_MODE_OUTPUT_PP;
  GPIO_InitStruct.Pull = GPIO_NOPULL;
  GPIO_InitStruct.Speed = GPIO_SPEED_FREQ_HIGH;
  HAL_GPIO_Init(NRF24L01_CSN_GPIO_Port, &GPIO_InitStruct);

  /*Configure GPIO pins : NRF24L01_CE_Pin LED1_Pin LED2_Pin */
  GPIO_InitStruct.Pin = NRF24L01_CE_Pin|LED1_Pin|LED2_Pin;
  GPIO_InitStruct.Mode = GPIO_MODE_OUTPUT_PP;
  GPIO_InitStruct.Pull = GPIO_NOPULL;
  GPIO_InitStruct.Speed = GPIO_SPEED_FREQ_LOW;
  HAL_GPIO_Init(GPIOB, &GPIO_InitStruct);

  /*Configure GPIO pin : NRF24L01_IRQ_Pin */
  GPIO_InitStruct.Pin = NRF24L01_IRQ_Pin;
  GPIO_InitStruct.Mode = GPIO_MODE_IT_FALLING;
  GPIO_InitStruct.Pull = GPIO_PULLUP;
  HAL_GPIO_Init(NRF24L01_IRQ_GPIO_Port, &GPIO_InitStruct);

  /*Configure GPIO pins : PB12 PB13 PB14 PB15
                           PB3 */
  GPIO_InitStruct.Pin = GPIO_PIN_12|GPIO_PIN_13|GPIO_PIN_14|GPIO_PIN_15
                          |GPIO_PIN_3;
  GPIO_InitStruct.Mode = GPIO_MODE_ANALOG;
  GPIO_InitStruct.Pull = GPIO_NOPULL;
  HAL_GPIO_Init(GPIOB, &GPIO_InitStruct);

  /*Configure GPIO pins : PA11 PA12 PA15 */
  GPIO_InitStruct.Pin = GPIO_PIN_11|GPIO_PIN_12|GPIO_PIN_15;
  GPIO_InitStruct.Mode = GPIO_MODE_ANALOG;
  GPIO_InitStruct.Pull = GPIO_NOPULL;
  HAL_GPIO_Init(GPIOA, &GPIO_InitStruct);

  /* EXTI interrupt init*/
  HAL_NVIC_SetPriority(EXTI15_10_IRQn, 0, 0);
  HAL_NVIC_EnableIRQ(EXTI15_10_IRQn);

}

/* USER CODE BEGIN 4 */
#include <string.h>
#include <stdio.h>

#ifdef __GNUC__
#define PUTCHAR_PROTOTYPE int __io_putchar(int ch)
#else
#define PUTCHAR_PROTOTYPE int fputc(int ch, FILE *f)
#endif
PUTCHAR_PROTOTYPE
{
    ITM_SendChar(ch);
    return ch;
}

// USART1 command parser, currently used by AT+PAIR.
void HAL_UART_RxCpltCallback(UART_HandleTypeDef *huart)
{
    if(huart == &huart1)
    {
        // A line ending marks one complete UART command.
        if(uart_rx_buf[uart_rx_len] == '\n' || uart_rx_buf[uart_rx_len] == '\r')
        {
            uart_rx_buf[uart_rx_len] = '\0'; // terminate command string

            // Handle pair/reset command.
            if(strstr(uart_rx_buf, "AT+PAIR") != NULL || strstr(uart_rx_buf, "pair") != NULL)
            {
                // 1. Write pair-valid marker.
                FLASH_WriteByte(PAIR_FLAG, PAIR_MAGIC);

                // 2. Restore default channel/address and preserve FC sleep settings.
                uint8_t default_addr[] = {0,0x11,0x22,0x33,0x44,0x55};
                FLASH_EraseSectorByAddr(PAIR_ADDR);
                FLASH_WriteByte(PAIR_ADDR, default_addr[0]);
                FLASH_WriteByte(PAIR_ADDR + 1U, default_addr[1]);
                FLASH_WriteByte(PAIR_ADDR + 2U, default_addr[2]);
                FLASH_WriteByte(PAIR_ADDR + 3U, default_addr[3]);
                FLASH_WriteByte(PAIR_ADDR + 4U, default_addr[4]);
                FLASH_WriteByte(PAIR_ADDR + 5U, default_addr[5]);
                FLASH_WriteByte(PAIR_FLAG, PAIR_MAGIC);
                FLASH_WriteByte(FC_SLEEP_ADDR, (uint8_t)(g_fc_idle_sleep_seconds & 0xFFU));
                FLASH_WriteByte(FC_SLEEP_ADDR + 1U, (uint8_t)((g_fc_idle_sleep_seconds >> 8) & 0xFFU));
                FLASH_WriteByte(FC_SLEEP_MAGIC_ADDR, FC_SLEEP_MAGIC);

                // 3. Reply to the UART console.
                char ok_msg[] = "PAIR OK! Reboot...\r\n";
                HAL_UART_Transmit(&huart1, (uint8_t*)ok_msg, strlen(ok_msg), 100);

                // 4. Reboot so RF settings are reloaded cleanly.
                HAL_NVIC_SystemReset();
            }
            else
            {
                // Unknown command.
                char err_msg[] = "Unknown Command! Use: AT+PAIR\r\n";
                HAL_UART_Transmit(&huart1, (uint8_t*)err_msg, strlen(err_msg), 100);
            }

            // Clear receive buffer for the next command.
            uart_rx_len = 0;
        }
        else
        {
            // Continue collecting command bytes.
            uart_rx_len++;
            if(uart_rx_len >= 127) uart_rx_len = 0; // prevent buffer overflow
        }

        // Re-arm UART interrupt reception.
        HAL_UART_Receive_IT(&huart1, (uint8_t*)&uart_rx_buf[uart_rx_len], 1);
    }
}
//void HAL_TIM_IC_CaptureCallback(TIM_HandleTypeDef *htim)
//{
//    if(htim->Instance == TIM2 && htim->Channel == HAL_TIM_ACTIVE_CHANNEL_2)
//    {
//        // Capture ultrasonic echo width.
//        hc_sr04_time = HAL_TIM_ReadCapturedValue(&htim2, TIM_CHANNEL_2);
//
//        // Distance formula: d = time_us * 0.034 / 2
//        hc_sr04_dist = hc_sr04_time * 0.017f;
//        hc_sr04_ok = 1;
//
//        // Switch capture edge for the next measurement.
//        __HAL_TIM_SET_CAPTUREPOLARITY(&htim2, TIM_CHANNEL_2, TIM_INPUTCHANNELPOLARITY_RISING);
//    }
//}

/* USER CODE END 4 */

void Error_Handler(void)
{
  __disable_irq();
  while (1)
  {
  }
}
